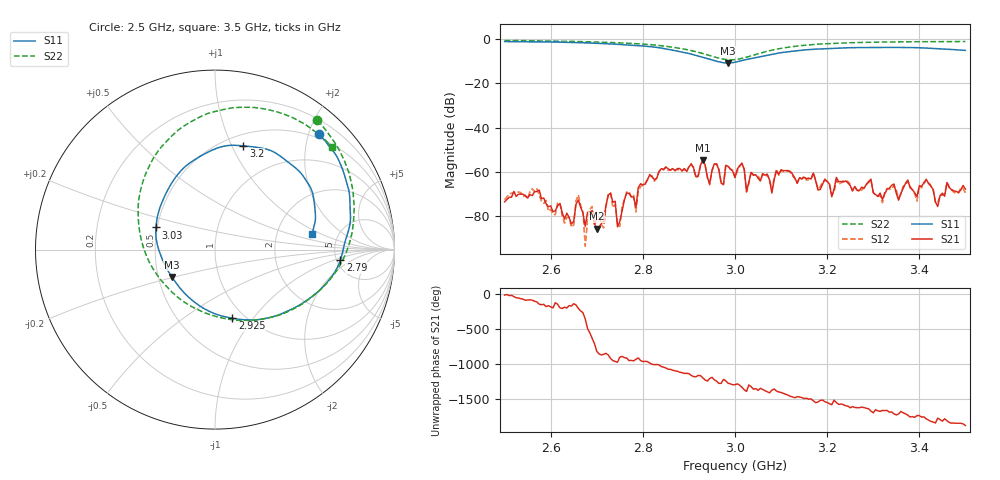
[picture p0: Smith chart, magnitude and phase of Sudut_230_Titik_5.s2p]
# Hz S RI R 50
! CMT, C1220, 16058040, 17.2.0/1
! Date: 15/08/2018 10:26:24
! Data: Format (Calibration Info)
! Freq  S11: Re/Im (F2)  S21: Re/Im (F2)  S12: Re/Im (F2)  S22: Re/Im (F2)
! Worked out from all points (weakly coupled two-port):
!   201 points, 2.5 GHz to 3.5 GHz, reference 50 ohm
!   highest |S21| = -54.66 dB at 2.93 GHz (marker M1); lowest = -85.5 dB at 2.7 GHz (marker M2)
!   lowest |S11| = -10.9 dB at 2.985 GHz (marker M3), VSWR 1.80, Z = 29.4 - j9.8 ohm
!   |S11| at or under -10 dB: 2.958 GHz to 3.011 GHz (53.19 MHz wide, 1.78 % of centre)
!   |S22| runs from -9.5 to -0.7 dB; largest |S21 - S12| = 0.00016
!   S11 on the Smith chart (normalised r, x): 2.5 GHz: 0.43, +2.19; 2.79 GHz: 5.42, -1.21; 2.925 GHz: 0.88, -0.79; 3.03 GHz: 0.49, +0.14; 3.2 GHz: 0.62, +1.11; 3.5 GHz: 3.21, +0.79
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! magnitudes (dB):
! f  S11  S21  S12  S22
! 2.5 GHz  -1.2  -73.4  -72.5  -0.7
! 2.67 GHz  -1.8  -78.6  -77.9  -1.3
! 2.7 GHz  -2.0  -85.5  -81.3  -1.4
! 2.73 GHz  -2.3  -69.6  -69.4  -1.6
! 2.745 GHz  -2.5  -84.7  -83.7  -1.8
! 2.765 GHz  -2.8  -69.5  -69.0  -2.0
! 2.785 GHz  -3.0  -75.9  -78.0  -2.2
! 2.79 GHz  -3.1  -67.1  -68.7  -2.2
! 2.835 GHz  -4.0  -59.9  -59.8  -3.0
! 2.925 GHz  -8.1  -57.0  -57.3  -6.3
! 2.93 GHz  -8.4  -54.7  -54.8  -6.6
! 2.945 GHz  -9.2  -65.3  -65.8  -7.5
! 2.985 GHz  -10.9  -57.5  -57.2  -9.4
! 3 GHz  -10.5  -62.5  -62.4  -9.4
! 3.03 GHz  -9.1  -64.7  -65.2  -8.0
! 3.17 GHz  -4.7  -60.5  -60.3  -2.6
! 3.2 GHz  -4.4  -64.3  -64.1  -2.2
! 3.335 GHz  -3.9  -67.3  -67.7  -1.4
! 3.395 GHz  -4.0  -71.0  -73.1  -1.3
! 3.415 GHz  -4.2  -63.3  -63.6  -1.3
! 3.44 GHz  -4.4  -75.6  -73.8  -1.3
! 3.5 GHz  -5.2  -67.7  -69.4  -1.2
